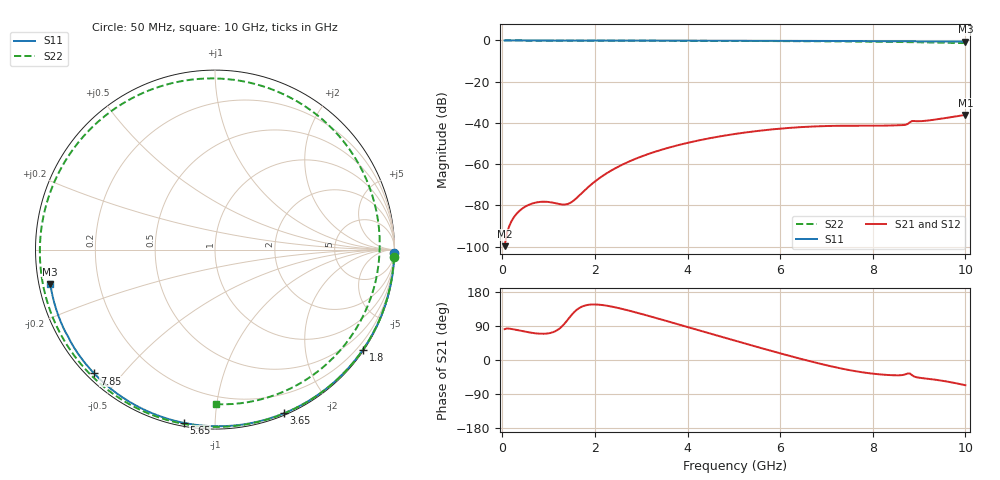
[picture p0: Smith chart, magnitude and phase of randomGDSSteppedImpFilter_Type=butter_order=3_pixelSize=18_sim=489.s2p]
! freq	dB(S11)	phase(S11)	dB(S12)	phase(S12)
!  dB(S21)	phase(S21)	dB(S22)	phase(S22)
!S-par simulation data
#  GHz  S  DB  R 50
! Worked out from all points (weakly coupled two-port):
!   200 points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, 50 MHz to 10 GHz, reference 50 ohm
!   highest |S21| = -36.13 dB at 10 GHz (marker M1); lowest = -99.8 dB at 50 MHz (marker M2)
!   lowest |S11| = -0.6 dB at 10 GHz (marker M3), VSWR 31.06, Z = 1.63 - j5.18 ohm
!   |S11| at or under -10 dB: nowhere
!   |S22| runs from -1.3 to 0.0 dB; largest |S21 - S12| = 0
!   S11 on the Smith chart (normalised r, x): 50 MHz: open; 1.8 GHz: 0.03, -3.26; 3.65 GHz: 0.02, -1.51; 5.65 GHz: 0.02, -0.84; 7.85 GHz: 0.02, -0.42; 10 GHz: 0.03, -0.10
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0.05  -0.01 -0.9  -99.81 81.4  -99.81 81.4  -0.02 -2.3
0.65  -0.02 -12.5  -79.10 71.5  -79.10 71.5  -0.04 -30.3
0.9  -0.02 -17.2  -78.24 69.3  -78.24 69.3  -0.05 -41.6
1.4  -0.03 -26.6  -79.43 104.3  -79.43 104.3  -0.08 -63.5
1.75  -0.04 -33.2  -73.33 142.3  -73.33 142.3  -0.09 -78.1
1.8  -0.04 -34.1  -72.27 144.2  -72.27 144.2  -0.10 -80.1
2.45  -0.06 -46.0  -61.89 138.7  -61.89 138.7  -0.12 -105.5
3.4  -0.08 -62.8  -53.29 108.1  -53.29 108.1  -0.16 -139.7
3.65  -0.09 -67.2  -51.67 99.4  -51.67 99.4  -0.17 -148.3
4.35  -0.11 -79.0  -48.00 74.7  -48.00 74.7  -0.20 -172.0
5.05  -0.14 -90.6  -45.29 50.2  -45.29 50.2  -0.24 163.9
5.65  -0.17 -100.2  -43.56 29.4  -43.56 29.4  -0.29 142.2
6.2  -0.20 -108.8  -42.43 11.0  -42.43 11.0  -0.33 120.8
6.7  -0.23 -116.6  -41.75 -4.9  -41.75 -4.9  -0.39 99.6
7.3  -0.27 -125.8  -41.39 -22.0  -41.39 -22.0  -0.47 71.3
7.85  -0.32 -134.3  -41.38 -33.8  -41.38 -33.8  -0.57 42.3
8.35  -0.37 -142.0  -41.28 -39.7  -41.28 -39.7  -0.68 13.4
8.7  -0.41 -147.5  -40.95 -38.1  -40.95 -38.1  -0.78 -7.8
8.85  -0.43 -149.7  -39.10 -40.3  -39.10 -40.3  -0.83 -17.2
9.05  -0.44 -152.8  -39.14 -47.6  -39.14 -47.6  -0.91 -29.7
9.55  -0.50 -160.8  -37.71 -55.7  -37.71 -55.7  -1.10 -61.4
10  -0.56 -168.2  -36.13 -66.6  -36.13 -66.6  -1.30 -89.8
